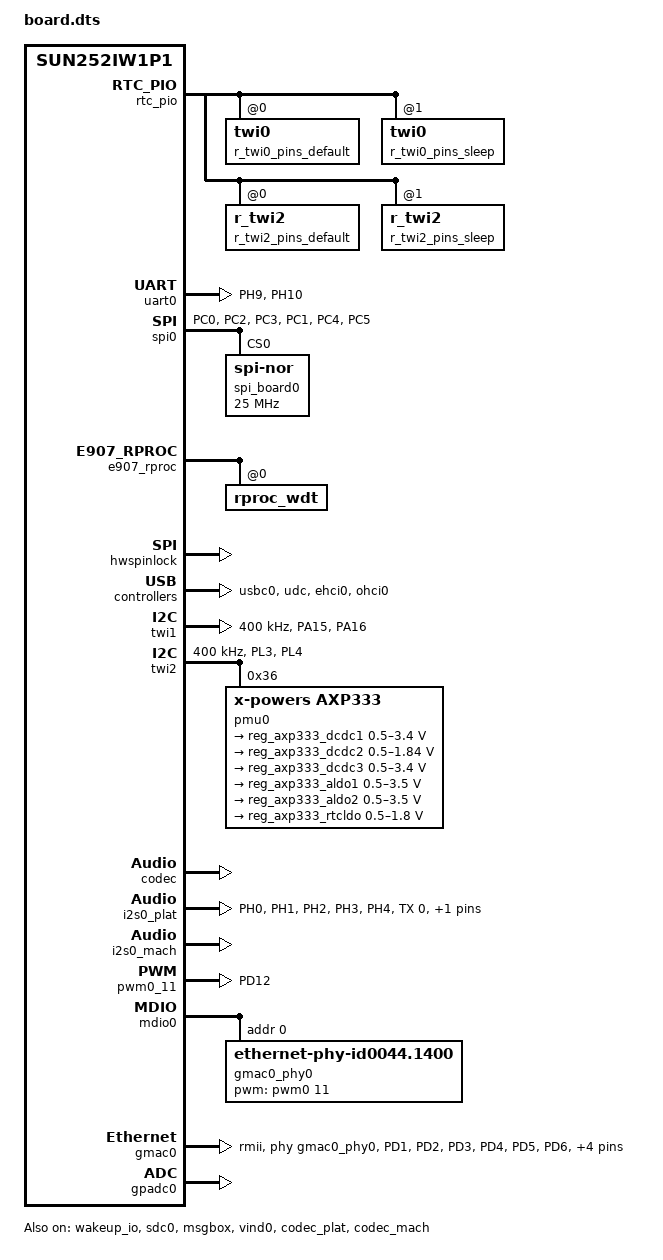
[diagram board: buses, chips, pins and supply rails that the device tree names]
// SPDX-License-Identifier: (GPL-2.0+ or MIT)

/dts-v1/;

#include "sun252iw1p1.dtsi"
#include <dt-bindings/input/linux-event-codes.h>

/{
	board = "V861", "V861-PERF1";
	compatible = "allwinner,sun252iw1p1", "riscv,sun252iw1p1";
	aliases {
		pmu0 = &pmu0;
		standby_param = &standby_param;
	};

	standby_param: standby_param {
		compatible = "allwinner,sun252iw1-standby-param";
		vdd-sys = <0x00000001>;
		vcc-io = <0x00000004>;
		vdd-csi = <0x00000008>;
		vcc-pa = <0x00000010>;
		ext32k = <0x1>;
		standby_pmu = <&pmu0>;
		standby_pmu_twi = <2>;
		standby_pmu_pinbase = "PL";
		standby_pmu_pinctrl = <3 2>, <4 2>;
		standby_dram_param = <&dram>;
		memory-region = <&standby_param_reserved>;
		status = "okay";
	};

	reserved-memory {
		standby_param_reserved: standby_param@40fc0000 {
			reg = <0x0 0x40fc0000 0x0 0x1000>;
			no-map;
		};

		e907_dram_reserved: e907_dram@41000000 {
			reg = <0x0 0x41000000 0x0 0x200000>;
			no-map;
		};

		/*
		 * The name should be "vdev%dbuffer".
		 * Its size should be not less than
		 *     RPMSG_BUF_SIZE * (num of buffers in a vring) * 2
		 *   = 512 * (num of buffers in a vring) * 2
		 */
		rv_vdev0buffer: vdev0buffer@41200000 {
			compatible = "shared-dma-pool";
			reg = <0x0 0x41200000 0x0 0x40000>;
			no-map;
		};

		/*
		 * The name should be "vdev%dvring%d".
		 * The size of each should be not less than
		 *     PAGE_ALIGN(vring_size(num, align))
		 *   = PAGE_ALIGN(16 * num + 6 + 2 * num + (pads for align) + 6 + 8 * num)
		 *
		 * (Please refer to the vring layout in include/uapi/linux/virtio_ring.h)
		 */
		rv_vdev0vring0: vdev0vring0@41240000 {
			reg = <0x0 0x41240000 0x0 0x2000>;
			no-map;
		};

		rv_vdev0vring1: vdev0vring1@41242000 {
			reg = <0x0 0x41242000 0x0 0x2000>;
			no-map;
		};

		e907_rpbuf_reserved: e907_rpbuf@41244000 {
			compatible = "shared-dma-pool";
			reg = <0x0 0x41244000 0x0 0x80000>;
			no-map;
		};

		e907_share_irq_table: share_irq_table@412c4000 {
			reg = <0x0 0x412c4000 0x0 0x2000>;
			no-map;
		};

		e907_mem_fw: e907_mem_fw@42400000 {
			/* boot0 & uboot0 load elf addr */
			reg = <0x0 0x42400000 0x0 0x200000>;
		};

		size_pool_mem: size_pool_mem@0{
			size = <0x0 0x3200000>;
		};
	};

	size_pool@0 {
		compatible = "allwinner,sunxi-size-pool-dma";
		memory = <&size_pool_mem>;
		thrs = <128>;
		sizes = <0 51200>;
		fall_to_big_pool = <1>;
	};

	rpbuf_controller0: rpbuf_controller0@0 {
		compatible = "allwinner,rpbuf-controller";
		remoteproc = <&e907_rproc>;
		ctrl_id = <0>;
		memory-region = <&e907_rpbuf_reserved>;
		status = "okay";
	};

	reserved-irq {
		share-e907 {
			arch-name = "e907";
			memory-region = <&e907_share_irq_table>;
			/* defined by sun252iw1-share-irq-dt.h */
			share-irq =
					<1    0x1    E907_PA_IRQ_NUM    C907_PA_IRQ_NUM    0x00000000>,
					<3    0x3    E907_PC_IRQ_NUM    C907_PC_IRQ_NUM    0x00000000>,
					<4    0x4    E907_PD_IRQ_NUM    C907_PD_IRQ_NUM    0x00000000>,
					<5    0x5    E907_PE_IRQ_NUM    C907_PE_IRQ_NUM    0x00000000>,
					<6    0x6    E907_PF_IRQ_NUM    C907_PF_IRQ_NUM    0x00000000>,
					<7    0x7    E907_PG_IRQ_NUM    C907_PG_IRQ_NUM    0x00000000>,
					<8    0x8    E907_PH_IRQ_NUM    C907_PH_IRQ_NUM    0x00000000>,
					<9    0x9    E907_PI_IRQ_NUM    C907_PI_IRQ_NUM    0x00000000>,
					<12   0xc    E907_PL_IRQ_NUM    C907_PL_IRQ_NUM    0x00000000>;
		};
	};

	pm_msgbox:pm_msgbox@1 {
		compatible = "allwinner,sun252iw1-pm-msgbox";
		mboxes = <&msgbox 2>;
		mbox-names = "pm-msgbox";
		status = "okay";
	};
};

&cpu0 {
	cpu-supply = <&reg_axp333_dcdc1>;
};

&cluster0_opp_table {
	opp@1368000000 {
		status = "okay";
	};
	opp@1416000000 {
		status = "okay";
	};
};

&ve {
	ve-supply = <&reg_axp333_dcdc1>;
};

&pio {
	uart0_pins_active: uart0_pins@0 {
		pins = "PH9", "PH10";
		function = "uart0";
	};

	uart0_pins_sleep: uart0_pins@1 {
		pins = "PH9", "PH10";
		function = "io_disabled";
	};

	uart1_pins_active: uart1_pins@0 {
		pins = "PG4", "PG5", "PG6", "PG7";
		function = "uart1";
	};

	uart1_pins_sleep: uart1_pins@1 {
		pins = "PG4", "PG5", "PG6", "PG7";
		function = "io_disabled";
	};

	uart2_pins_active: uart2_pins@0 {
		pins = "PH5", "PH6", "PH7", "PH8";
		function = "uart2";
	};

	uart2_pins_sleep: uart2_pins@1 {
		pins = "PH5", "PH6", "PH7", "PH8";
		function = "io_disabled";
	};

	uart3_pins_active: uart3_pins@0 {
		pins = "PH0", "PH1";
		function = "uart3";
	};

	uart3_pins_sleep: uart3_pins@1 {
		pins = "PH0", "PH1";
		function = "io_disabled";
	};

	spi0_pins_default: spi0@0 {
		pins = "PC0", "PC2", "PC3"; /* clk, mosi, miso */
		function = "spi0";
		allwinner,drive = <1>;
	};

	spi0_pins_cs: spi0@1 {
		pins = "PC1", "PC4", "PC5"; /* cs, wp, hold */
		function = "spi0";
		allwinner,drive = <1>;
		bias-pull-up;
	};

	spi0_pins_sleep: spi0@3 {
		pins = "PC0", "PC1", "PC2", "PC3", "PC4", "PC5";
		function = "io_disabled";
	};

	spi1_pins_default: spi1@0 {
		pins = "PD1", "PD2", "PD3"; /* CS, SCK, SDA */
		function = "spi1";
		allwinner,drive = <3>;
		bias-pull-up;
	};

	spi1_pins_sleep: spi1@1 {
		pins = "PD1", "PD2", "PD3";
		function = "io_disabled";
		allwinner,drive = <0>;
		bias-disable;
	};

	dbi1_pins_default: dbi1@0 {
		pins = "PD1", "PD2", "PD3", "PD5", "PD6"; /* dbi-cs, dbi-clk, dbi-sdo, dbi-dcx, dbi-te */
		function = "spi1";
		allwinner,drive = <3>;
		bias-pull-up;
	};

	dbi1_pins_sleep: dbi1@1 {
		pins = "PD1", "PD2", "PD3", "PD5", "PD6";
		function = "io_disabled";
		allwinner,drive = <0>;
		bias-disable;
	};

	spif_pins_default: spif@0 {
		pins = "PC0", "PC2", "PC3"; /* clk, mosi, miso */
		function = "spif";
		allwinner,drive = <1>;
	};

	spif_pins_cs: spif@1 {
		pins = "PC1", "PC4", "PC5"; /* cs, wp, hold */
		function = "spif";
		allwinner,drive = <1>;
		bias-pull-up;
	};

	spif_pins_sleep: spif@2 {
		pins = "PC0", "PC1", "PC2", "PC3", "PC4", "PC5";
		function = "io_disabled";
	};

	twi0_pins_default: twi0@0 {
		pins = "PD20", "PD21";
		function = "twi0";
		bias-pull-up;
		allwinner,drive = <0>;
	};

	twi0_pins_sleep: twi0@1 {
		pins = "PD20", "PD21";
		function = "gpio_in";
	};

	twi1_pins_default: twi1@0 {
		pins = "PA15", "PA16";
		function = "twi1";
		bias-pull-up;
		allwinner,drive = <0>;
	};

	twi1_pins_sleep: twi1@1 {
		pins = "PA15", "PA16";
		function = "gpio_in";
	};

	twi2_pins_default: twi2@0 {
		pins = "PE10", "PE11";
		function = "twi2";
		bias-pull-up;
		allwinner,drive = <0>;
	};

	twi2_pins_sleep: twi2@1 {
		pins = "PE10", "PE11";
		function = "gpio_in";
	};

	twi3_pins_default: twi3@0 {
		pins = "PD18", "PD19";
		function = "twi3";
		bias-pull-up;
		allwinner,drive = <0>;
	};

	twi3_pins_sleep: twi3@1 {
		pins = "PD18", "PD19";
		function = "gpio_in";
	};

	i2s0_pins_a: i2s0@0 {
		pins = "PH0";
		function = "i2s0_mclk";
		allwinner,drive = <1>;
		bias-disable;
	};

	i2s0_pins_b: i2s0@1 {
		pins = "PH1";
		function = "i2s0_bclk";
		allwinner,drive = <1>;
		bias-disable;
	};

	i2s0_pins_c: i2s0@2 {
		pins = "PH2";
		function = "i2s0_lrck";
		allwinner,drive = <1>;
		bias-disable;
	};

	i2s0_pins_d: i2s0@3 {
		pins = "PH3";
		function = "i2s0_dout0";
		allwinner,drive = <1>;
		bias-disable;
	};

	i2s0_pins_e: i2s0@4 {
		pins = "PH4";
		function = "i2s0_din0";
		allwinner,drive = <1>;
		bias-disable;
	};

	i2s0_pins_f: i2s0@5 {
		pins = "PH0", "PH1", "PH2", "PH3", "PH4";
		function = "io_disabled";
		allwinner,drive = <1>;
		bias-disable;
	};

	pwm0_9_pins_active: pwm0_9@0 {
		pins = "PE9";
		function = "pwm_9";
		drive-strength = <10>;
		bias-pull-up;
	};

	pwm0_9_pins_sleep: pwm0_9@1 {
		pins = "PE9";
		function = "io_disabled";
		bias-disable;
	};

	pwm0_11_pins_active: pwm0_11@0 {
		pins = "PD12";
		function = "pwm_11";
		drive-strength = <10>;
		bias-pull-up;
	};

	pwm0_11_pins_sleep: pwm0_11@1 {
		pins = "PD12";
		function = "io_disabled";
	};

	gmac0_pins_default: gmac0@0 {
		pins = "PD1", "PD2", "PD3", "PD4", "PD5",
				"PD6", "PD7", "PD9", "PD10", "PD11";
		function = "rmii1";
		drive-strength = <40>;
	};

	gmac0_pins_sleep: gmac0@1 {
		pins = "PD1", "PD2", "PD3", "PD4", "PD5",
				"PD6", "PD7", "PD9", "PD10", "PD11";
		function = "io_disabled";
	};

	sdc0_pins_f: sdc0@5 {
		pins = "PF0", "PF1", "PF2",
			 "PF3", "PF4", "PF5";
		function = "io_disabled";
		bias-disable;
		power-source = <3300>;
	};
};

&rtc_pio {
	r_twi0_pins_default: twi0@0 {
		pins = "PL5", "PL6";
		function = "s_twi0";
		bias-pull-up;
		allwinner,drive = <0>;
	};

	r_twi0_pins_sleep: twi0@1 {
		pins = "PL5", "PL6";
		function = "gpio_in";
	};
	r_twi2_pins_default: r_twi2@0 {
		pins = "PL3", "PL4";
		function = "s_twi2";
		bias-pull-up;
		allwinner,drive = <0>;
	};
	r_twi2_pins_sleep: r_twi2@1 {
		pins = "PL3", "PL4";
		function = "gpio_in";
	};
};

&soc {
	auto_print@54321 {
		reg = <0x0 0x54321 0x0 0x0>;
		device_type = "auto_print";
		status = "okay";
	};
};

&wakeup_io {
	status = "okay";
	reg = <0x0 0x07090250 0x0 0X1000>;
	wakeup_pins {
		wakeup_pin1:wakeup-pin@1 {
			gpio_info = <&rtc_pio PL 4 GPIO_ACTIVE_HIGH>;
			edge_mode = "positive";
			clk_src = <0>;
			debounce_us = <50000>;
			wakeup-source;
			status = "okay";
		};
	};
};

&uart0 {
	pinctrl-names = "default", "sleep";
	pinctrl-0 = <&uart0_pins_active>;
	pinctrl-1 = <&uart0_pins_sleep>;
	status = "okay";
};

&uart1 {
	pinctrl-names = "default", "sleep";
	pinctrl-0 = <&uart1_pins_active>;
	pinctrl-1 = <&uart1_pins_sleep>;
	status = "disabled";
};

&uart2 {
	pinctrl-names = "default", "sleep";
	pinctrl-0 = <&uart2_pins_active>;
	pinctrl-1 = <&uart2_pins_sleep>;
	status = "disabled";
};

&uart3 {
	pinctrl-names = "default", "sleep";
	pinctrl-0 = <&uart3_pins_active>;
	pinctrl-1 = <&uart3_pins_sleep>;
	uart3_type = <2>;
	status = "disabled";
};

&spi0 {
	pinctrl-0 = <&spi0_pins_default &spi0_pins_cs>;
	pinctrl-1 = <&spi0_pins_sleep>;
	pinctrl-names = "default", "sleep";
	sunxi,spi-bus-mode = <SUNXI_SPI_BUS_NAND>;
	sunxi,spi-cs-mode = <SUNXI_SPI_CS_SOFT>;
	status = "okay";

	spi_board0 {
		compatible = "jedec,spi-nor";
		spi-max-frequency=<25000000>;
		reg = <0x0>;
		spi-rx-bus-width=<0x01>;
		spi-tx-bus-width=<0x01>;
		status="okay";
	};
	spi-nand@0 {
		compatible = "spi-nand";
		spi-max-frequency=<100000000>;
		reg = <0x0>;
		spi-rx-bus-width=<0x04>;
		spi-tx-bus-width=<0x04>;
		status = "disabled";
	};
};

&spi1 {
	pinctrl-0 = <&dbi1_pins_default>;
	pinctrl-1 = <&dbi1_pins_sleep>;
	pinctrl-names = "default", "sleep";
	/*Set SUNXI_SPI_BUS_DBI when using SPI LCD*/
	sunxi,spi-bus-mode = <SUNXI_SPI_BUS_DBI>;
	sunxi,spi-cs-mode = <SUNXI_SPI_CS_AUTO>;
	/*sunxi,spi-bus-mode = <SUNXI_SPI_BUS_MASTER>;*/
	/*sunxi,spi-cs-mode = <SUNXI_SPI_CS_SOFT>;*/
	status = "disabled";

	spi_panel_spi1: slave@0 {
		device_type = "spi-panel";
		compatible = "allwinner,spi-panel";
		reg = <0x0>;
		spi-max-frequency = <100000000>;
		lcd_used = <1>;
		lcd_driver_name = "kld2844b";
		lcd_if = <1>;
		lcd_dbi_if = <4>;
		lcd_data_speed = <50>;
		lcd_spi_bus_num = <1>;
		lcd_x = <240>;
		lcd_y = <320>;
		lcd_pixel_fmt = <0>;
		lcd_dbi_fmt = <3>;
		lcd_rgb_order = <0>;
		lcd_width = <60>;
		lcd_height = <95>;
		lcd_pwm_used = <1>;
		lcd_pwm_ch = <9>;
		lcd_pwm_freq = <5000>;
		lcd_pwm_pol = <1>;
		lcd_pwm_name = "spi_backlight";
		lcd_frm = <1>;
		lcd_gamma_en = <1>;
		fb_buffer_num = <2>;
		lcd_backlight = <100>;
		lcd_fps = <60>;
		lcd_dbi_te = <0>;
		lcd_dbi_clk_mode = <0>;
		lcd_gpio_0 = <&pio PD 4 GPIO_ACTIVE_LOW>; /* reset */
		/*lcd_spi_dc_pin = <&pio PD 5 GPIO_ACTIVE_HIGH>;*/
		status = "disabled";
	};

};

&lcd_fb {
	status = "disabled";
	pwms = <&pwm0 9 5000000 0>;
	pwm-names = "spi_backlight";

	port {
		#address-cells = <1>;
		#size-cells = <0>;
		spi_panel0: endpoint@0 {
			reg = <0>;
			remote-endpoint = <&spi_panel_spi1>;
		};
	};
};

&spif0 {
	clock-frequency = <100000000>;
	pinctrl-0 = <&spif_pins_default &spif_pins_cs>;
	pinctrl-1 = <&spif_pins_sleep>;
	pinctrl-names = "default", "sleep";
	spif-rx-bus-width = <0x4>;
	spif-tx-bus-width = <0x4>;
	//prefetch_read_mode_enabled;	/* choose prefect read mode */
	//dqs_mode_enabled;				/* choose dqs mode(nand provide clk mode) */
	dtr_mode_enabled;				/* choose double edge trigger mode */
	io_mode_enabled;				/* 1_x_x && x_x_x mode */
	status = "disabled";

	spif-nor  {
		device_type = "spi_board0";
		compatible = "spif-nor";
		spi-max-frequency = <0x5f5e100>;
		reg = <0x0>;
		status = "disabled";
	};
};

&sdc0 {
	bus-width = <4>;
	cd-gpios = <&pio PF 6 (GPIO_ACTIVE_LOW | GPIO_PULL_UP)>;
	/*non-removable;*/
	/*broken-cd;*/
	/*cd-inverted*/
	/*data3-detect;*/
	card-pwr-gpios = <&pio PH 13 1 1 2 0xffffffff>;
	pinctrl-2 = <&sdc0_pins_f>;
	cd-used-24M;
	cd-set-debounce = <0x1>;
	cap-sd-highspeed;
	sd-uhs-sdr50;
	sd-uhs-ddr50;
	sd-uhs-sdr104;
	no-sdio;
	no-mmc;
	/* b2c-ecc-on; */
	sunxi-power-save-mode;
	/*sunxi-dis-signal-vol-sw;*/
	max-frequency = <150000000>;
	ctl-spec-caps = <0x428>;
	/*vmmc-supply = <&reg_cldo3>;*/
	/*vqmmc33sw-supply = <&reg_cldo3>;*/
	/*vdmmc33sw-supply = <&reg_cldo3>;*/
	/*vqmmc18sw-supply = <&reg_aldo4>;*/
	/*vdmmc18sw-supply = <&reg_aldo4>;*/
	status = "okay";
};

&sdc2 {
	bus-width = <4>;
	mmc-ddr-1_8v;
	mmc-hs200-1_8v;
	mmc-hs400-1_8v;
	sunxi-power-save-mode;
	sunxi-dis-signal-vol-sw;
	mmc-bootpart-noacc;
	cqe-on;
	ctl-cmdq-md = <0x2>;
	max-frequency = <150000000>;
	status = "disabled";
};

&e907_rproc {
	firmware-name = "amp_rv0.bin";
	mboxes = <&msgbox 0>, <&msgbox 2>;
	mbox-names = "arm-kick", "arm-standby";
	auto-boot;
	skip-shutdown;
	fw-region = <&e907_mem_fw>;
	memory-region = <&e907_dram_reserved>, <&rv_vdev0buffer>, <&rv_vdev0vring0>, <&rv_vdev0vring1>, <&e907_share_irq_table>;
	fw-partitions = "riscv0", "riscv0-r";
	fw-partition-sectors = <2432>;
	memory-mappings =
		/* < DA         len             PA >    */
		/* DRAM */
		< 0x40000000       0xBfffffff    0x40000000 >;
	stop-record-reg = <0x4a00020c>;

	share-irq = "e907";
	status = "okay";

	rproc_wdt: rproc_wdt@0 {
		timeout_ms = <6000>;
		try_times = <3>;
		reset_type = <0x2>;
		panic_on_timeout = <0>;
		status = "okay";
	};
};

&msgbox {
	status = "okay";
};

&hwspinlock {
	status = "okay";
};

/*
 * usb_port_type: usb mode. 0-device, 1-host, 2-otg.
 * usb_detect_type: usb hotplug detect mode. 0-none, 1-vbus/id detect, 2-pmu detect, 3-tcpm detect.
 * usb_detect_mode: 0-thread scan, 1-id gpio interrupt, 2-pmu notify.
 * usb_id_gpio: gpio for id detect.
 * usb_det_vbus_gpio: gpio for id detect. gpio or "axp_ctrl".
 * usb_wakeup_suspend: 0-SUPER_STANDBY, 1-USB_STANDBY.
 */
&usbc0 {
	device_type = "usbc0";
	usb_port_type = <0>;
	usb_detect_type = <1>;
	usb_detect_mode = <1>;
	usb_id_gpio = <&pio PH 2 GPIO_ACTIVE_HIGH>;
	usb_det_vbus_gpio;
	usb_wakeup_suspend = <0>;
	status = "okay";
};

&udc {
	status = "okay";
};

&ehci0 {
	status = "okay";
};

&ohci0 {
	status = "okay";
};

&twi0 {
	clock-frequency = <400000>;
	pinctrl-0 = <&twi0_pins_default>;
	pinctrl-1 = <&twi0_pins_sleep>;
	pinctrl-names = "default", "sleep";
	twi_drv_used = <1>;
	status = "disabled";
};

&twi1 {
	clock-frequency = <400000>;
	pinctrl-0 = <&twi1_pins_default>;
	pinctrl-1 = <&twi1_pins_sleep>;
	pinctrl-names = "default", "sleep";
	twi_drv_used = <1>;
	status = "okay";
};

&twi2 {
	clock-frequency = <400000>;
	pinctrl-0 = <&r_twi2_pins_default>;
	pinctrl-1 = <&r_twi2_pins_sleep>;
	pinctrl-names = "default", "sleep";
	twi_drv_used = <1>;
	status = "okay";

	pmu0: pmu@36{
		compatible = "x-powers,axp333";
		reg = <0x36>;
		status = "okay";
		wakeup_source;

		powerkey0: powerkey@0 {
			status = "disabled";
			compatible = "x-powers,axp2101-pek";
		};

		axp333_motor: axp333_motor@0 {
			status = "okay";
			compatible = "x-powers,axp333-motor";
		};

		ircut: ircut@0 {
			status = "okay";
			compatible = "x-powers,axp333-ircut";
		};

		regulators{
			reg_axp333_dcdc1: dcdc1 {
				regulator-name = "axp333-dcdc1";
				regulator-min-microvolt = <500000>;
				regulator-max-microvolt = <3400000>;
				regulator-step-delay-us = <25>;
				regulator-final-delay-us = <50>;
				regulator-always-on;
			};

			reg_axp333_dcdc2: dcdc2 {
				regulator-name = "axp333-dcdc2";
				regulator-min-microvolt = <500000>;
				regulator-max-microvolt = <1840000>;
				regulator-step-delay-us = <25>;
				regulator-final-delay-us = <50>;
				regulator-always-on;
			};

			reg_axp333_dcdc3: dcdc3 {
				regulator-name = "axp333-dcdc3";
				regulator-min-microvolt = <500000>;
				regulator-max-microvolt = <3400000>;
				regulator-step-delay-us = <25>;
				regulator-final-delay-us = <50>;
				regulator-always-on;
			};

			reg_axp333_aldo1: aldo1 {
				regulator-name = "axp333-aldo1";
				regulator-min-microvolt = <500000>;
				regulator-max-microvolt = <3500000>;
				regulator-step-delay-us = <25>;
				regulator-final-delay-us = <50>;
				regulator-always-on;
			};

			reg_axp333_aldo2: aldo2 {
				regulator-name = "axp333-aldo2";
				regulator-min-microvolt = <500000>;
				regulator-max-microvolt = <3500000>;
				regulator-step-delay-us = <25>;
				regulator-final-delay-us = <50>;
				regulator-always-on;
			};

			reg_axp333_rtcldo: rtcldo {
				regulator-name = "axp333-rtcldo";
				regulator-min-microvolt = <500000>;
				regulator-max-microvolt = <1800000>;
				regulator-step-delay-us = <25>;
				regulator-final-delay-us = <50>;
				regulator-always-on;
			};
		};
		virtual-ext-dcdc1 {
			compatible = "xpower-vregulator,dcdc1";
			dcdc1-supply = <&reg_axp333_dcdc1>;
		};
		virtual-ext-dcdc2 {
			compatible = "xpower-vregulator,dcdc2";
			dcdc2-supply = <&reg_axp333_dcdc2>;
		};
		virtual-ext-dcdc3 {
			compatible = "xpower-vregulator,dcdc3";
			dcdc3-supply = <&reg_axp333_dcdc3>;
		};
		virtual-ext-aldo1 {
			compatible = "xpower-vregulator,aldo1";
			aldo1-supply = <&reg_axp333_aldo1>;
		};
		virtual-ext-aldo2 {
			compatible = "xpower-vregulator,aldo2";
			aldo2-supply = <&reg_axp333_aldo2>;
		};
		virtual-ext-rtcldo {
			compatible = "xpower-vregulator,rtcldo";
			rtcldo-supply = <&reg_axp333_rtcldo>;
		};
	};

	tlsc6x: tlsc6x@2e {
		compatible = "tlsc6x,tlsc6x_ts";
		reg = <0x2e>;
		reset-gpio = <&pio PE 4 GPIO_ACTIVE_HIGH>;
		irq-gpio = <&pio PE 8 GPIO_ACTIVE_LOW>;
		TP_MAX_X = <240>;
		TP_MAX_Y = <320>;
		revert_x_flag = <1>;
		revert_y_flag = <0>;
		exchange_x_y_flag = <1>;
		status = "disabled";
	};

};

&twi3 {
	clock-frequency = <400000>;
	pinctrl-0 = <&twi3_pins_default>;
	pinctrl-1 = <&twi3_pins_sleep>;
	pinctrl-names = "default", "sleep";
	twi_drv_used = <1>;
	status = "disabled";
};

&vind0 {
	csi_top = <300000000>;
	status = "okay";

	csi2: csi@5822000 {
		pinctrl-names = "default","sleep";
		pinctrl-0 = <&ncsi_8bit_pins_a>;
		pinctrl-1 = <&ncsi_8bit_pins_b>;
		status = "disabled";
	};

	tdm0: tdm@5908000 {
		work_mode = <0x1>;
		delay_init = <0>;
	};

	isp00:isp@5900000 {
		work_mode = <0x1>;
		delay_init = <0>;
	};

	isp01:isp@58ffffc {
		status = "disabled";
		delay_init = <0>;
	};

	isp02:isp@58ffff8 {
		status = "disabled";
		delay_init = <0>;
	};

	isp03:isp@58ffff4 {
		status = "disabled";
		delay_init = <0>;
	};

	isp10:isp@4 {
		status = "disabled";
	};

	isp20:isp@5 {
		status = "disabled";
	};

	isp30:isp@6 {
		status = "disabled";
	};

	scaler00:scaler@5910000 {
		work_mode = <0x1>;
		status = "okay";
		delay_init = <0>;
	};

	scaler01:scaler@590fffc {
		status = "disabled";
		delay_init = <0>;
	};

	scaler02:scaler@590fff8 {
		status = "disabled";
		delay_init = <0>;
	};

	scaler03:scaler@590fff4 {
		status = "disabled";
		delay_init = <0>;
	};

	scaler10:scaler@5910400 {
		work_mode = <0x0>;
		status = "okay";
		delay_init = <0>;
	};

	scaler11:scaler@59103fc {
		status = "disabled";
		delay_init = <0>;
	};

	scaler12:scaler@59103f8 {
		status = "disabled";
		delay_init = <0>;
	};

	scaler13:scaler@59103f4 {
		status = "disabled";
		delay_init = <0>;
	};

	scaler20:scaler@5910800 {
		work_mode = <0x0>;
		status = "okay";
		delay_init = <0>;
	};

	scaler21:scaler@59107fc {
		status = "disabled";
		delay_init = <0>;
	};

	scaler22:scaler@59107f8 {
		status = "disabled";
		delay_init = <0>;
	};

	scaler23:scaler@59107f4 {
		status = "disabled";
		delay_init = <0>;
	};

	scaler30:scaler@5910c00 {
		work_mode = <0x0>;
		status = "okay";
		delay_init = <0>;
	};

	scaler31:scaler@5910bfc {
		status = "disabled";
		delay_init = <0>;
	};

	scaler32:scaler@5910bf8 {
		status = "disabled";
		delay_init = <0>;
	};

	scaler33:scaler@5910bf4 {
		status = "disabled";
		delay_init = <0>;
	};

	actuator0: actuator@2108180 {
		device_type = "actuator0";
		actuator0_slave = <0x18>;
		actuator0_af_pwdn = <>;
		actuator0_afvdd = "afvcc-csi";
		actuator0_afvdd_vol = <2800000>;
		status = "disabled";
	};

	flash0: flash@2108190 {
		device_type = "flash0";
		flash0_type = <2>;
		flash0_en = <>;
		flash0_mode = <>;
		flash0_flvdd = "";
		flash0_flvdd_vol = <>;
		device_id = <0>;
		status = "disabled";
	};

	sensor0: sensor@5812000 {
		device_type = "sensor0";
		sensor0_mname = "ov13850_mipi";
		sensor0_twi_cci_id = <1>;
		sensor0_twi_addr = <0x20>;
		sensor0_mclk_id = <1>;
		sensor0_pos = "rear";
		sensor0_isp_used = <1>;
		sensor0_fmt = <1>;
		sensor0_stby_mode = <0>;
		sensor0_vflip = <0>;
		sensor0_hflip = <0>;
		sensor0_iovdd-supply = <>;
		sensor0_iovdd_vol = <>;
		sensor0_avdd-supply = <>;
		sensor0_avdd_vol = <>;
		sensor0_dvdd-supply = <>;
		sensor0_dvdd_vol = <>;
		sensor0_power_en = <>;
		sensor0_reset = <&pio PA 14 GPIO_ACTIVE_LOW>;
		sensor0_pwdn = <>;
		status = "okay";
	};

	sensor1: sensor@5812010 {
		device_type = "sensor1";
		sensor1_mname = "gc1084_mipi_2";
		sensor1_twi_cci_id = <0>;
		sensor1_twi_addr = <0x7e>;
		sensor1_mclk_id = <1>;
		sensor1_pos = "front";
		sensor1_isp_used = <1>;
		sensor1_fmt = <1>;
		sensor1_stby_mode = <0>;
		sensor1_vflip = <0>;
		sensor1_hflip = <0>;
		sensor1_iovdd-supply = <>;
		sensor1_iovdd_vol = <>;
		sensor1_avdd-supply = <&reg_axp333_aldo1>;
		sensor1_avdd_vol = <2800000>;
		sensor1_dvdd-supply = <>;
		sensor1_dvdd_vol = <>;
		sensor1_power_en = <>;
		sensor1_reset = <&pio PE 1 GPIO_ACTIVE_LOW>;
		status = "disabled";
		sensor1_pwdn = <>;
	};

	sensor2: sensor@5812020 {
		device_type = "sensor2";
		sensor2_mname = "gc1084_mipi_3";
		sensor2_twi_cci_id = <0>;
		sensor2_twi_addr = <0x7e>;
		sensor2_mclk_id = <1>;
		sensor2_pos = "front";
		sensor2_isp_used = <1>;
		sensor2_fmt = <1>;
		sensor2_stby_mode = <0>;
		sensor2_vflip = <0>;
		sensor2_hflip = <0>;
		sensor2_iovdd-supply = <>;
		sensor2_iovdd_vol = <>;
		sensor2_avdd-supply = <>;
		sensor2_avdd_vol = <>;
		sensor2_dvdd-supply = <>;
		sensor2_dvdd_vol = <>;
		sensor2_power_en = <>;
		sensor2_reset = <&pio PD 13 GPIO_ACTIVE_LOW>;
		status = "disabled";
		sensor2_pwdn = <>;
	};

	sensor_list0:sensor_list@5812040 {
		sensor00_mname = "gc5035_mipi";
		sensor00_twi_addr = <0x6c>;
		sensor00_type = <1>;
		sensor00_hflip = <0>;
		sensor00_vflip = <0>;
		sensor00_act_used = <1>;
		sensor00_act_name = "dw9714_act";
		sensor00_act_twi_addr = <0x18>;
		sensor01_mname = "ov5675_mipi";
		sensor01_twi_addr = <0x6c>;
		sensor01_type = <1>;
		sensor01_hflip =  <0>;
		sensor01_vflip = <0>;
		sensor01_act_used = <1>;
		sensor01_act_name = "dw9714_act";
		sensor01_act_twi_addr = <0x18>;
		sensor02_mname = "sp5409_mipi";
		sensor02_twi_addr = <0x78>;
		sensor02_type = <1>;
		sensor02_hflip =  <0>;
		sensor02_vflip = <0>;
		sensor02_act_used = <1>;
		sensor02_act_name = "dw9714_act";
		sensor02_act_twi_addr = <0x18>;
		status = "disabled";
	};

	sensor_list1:sensor_list@5812050 {
		sensor10_mname = "gc02m2_mipi";
		sensor10_twi_addr = <0x20>;
		sensor10_type = <1>;
		sensor10_hflip =  <0>;
		sensor10_vflip = <0>;
		sensor10_act_used = <0>;
		sensor10_act_name = "";
		sensor10_act_twi_addr = <>;
		sensor11_mname = "ov02a10_mipi";
		sensor11_twi_addr = <0x7a>;
		sensor11_type = <1>;
		sensor11_hflip =  <1>;
		sensor11_vflip = <0>;
		sensor11_act_used = <0>;
		sensor11_act_name = "";
		sensor11_act_twi_addr = <>;
		sensor12_mname = "gc030a_mipi";
		sensor12_twi_addr = <0x42>;
		sensor12_type = <1>;
		sensor12_hflip =  <0>;
		sensor12_vflip = <0>;
		sensor12_act_used = <0>;
		sensor12_act_name = "";
		sensor12_act_twi_addr = <>;
		status = "disabled";
	};

	vinc00:vinc@5830000 {
		vinc0_csi_sel = <0>;
		vinc0_mipi_sel = <0>;
		vinc0_isp_sel = <0>;
		vinc0_isp_tx_ch = <0>;
		vinc0_tdm_rx_sel = <0>;
		vinc0_vipp_sel = <0>;
		vinc0_rear_sensor_sel = <0>;
		vinc0_front_sensor_sel = <0>;
		vinc0_sensor_list = <0>;
		delay_init = <0>;
		work_mode = <0x1>;
		status = "okay";
	};

	vinc01:vinc@582fffc {
		vinc1_csi_sel = <1>;
		vinc1_mipi_sel = <1>;
		vinc1_isp_sel = <1>;
		vinc1_isp_tx_ch = <0>;
		vinc1_tdm_rx_sel = <1>;
		vinc1_vipp_sel = <1>;
		vinc1_rear_sensor_sel = <1>;
		vinc1_front_sensor_sel = <1>;
		vinc1_sensor_list = <0>;
		delay_init = <0>;
		status = "disabled";
	};

	vinc02:vinc@582fff8 {
		vinc2_csi_sel = <2>;
		vinc2_mipi_sel = <2>;
		vinc2_isp_sel = <2>;
		vinc2_isp_tx_ch = <0>;
		vinc2_tdm_rx_sel = <2>;
		vinc2_vipp_sel = <2>;
		vinc2_rear_sensor_sel = <2>;
		vinc2_front_sensor_sel = <2>;
		vinc2_sensor_list = <0>;
		delay_init = <0>;
		status = "disabled";
	};

	vinc03:vinc@582fff4 {
		vinc3_csi_sel = <0>;
		vinc3_mipi_sel = <0>;
		vinc3_isp_sel = <3>;
		vinc3_isp_tx_ch = <0>;
		vinc3_tdm_rx_sel = <3>;
		vinc3_vipp_sel = <3>;
		vinc3_rear_sensor_sel = <0>;
		vinc3_front_sensor_sel = <0>;
		vinc3_sensor_list = <0>;
		delay_init = <0>;
		status = "disabled";
	};

	vinc10:vinc@5831000 {
		vinc4_csi_sel = <1>;
		vinc4_mipi_sel = <1>;
		vinc4_isp_sel = <0>;
		vinc4_isp_tx_ch = <0>;
		vinc4_tdm_rx_sel = <0>;
		vinc4_vipp_sel = <4>;
		vinc4_rear_sensor_sel = <0>;
		vinc4_front_sensor_sel = <0>;
		vinc4_sensor_list = <0>;
		delay_init = <0>;
		work_mode = <0x0>;
		status = "okay";
	};

	vinc11:vinc@5830ffc {
		vinc5_csi_sel = <1>;
		vinc5_mipi_sel = <1>;
		vinc5_isp_sel = <1>;
		vinc5_isp_tx_ch = <0>;
		vinc5_tdm_rx_sel = <1>;
		vinc5_vipp_sel = <5>;
		vinc5_rear_sensor_sel = <1>;
		vinc5_front_sensor_sel = <1>;
		vinc5_sensor_list = <0>;
		delay_init = <0>;
		status = "disabled";
	};

	vinc12:vinc@5830ff8 {
		vinc6_csi_sel = <2>;
		vinc6_mipi_sel = <2>;
		vinc6_isp_sel = <2>;
		vinc6_isp_tx_ch = <0>;
		vinc6_tdm_rx_sel = <2>;
		vinc6_vipp_sel = <6>;
		vinc6_rear_sensor_sel = <2>;
		vinc6_front_sensor_sel = <2>;
		vinc6_sensor_list = <0>;
		delay_init = <0>;
		status = "disabled";
	};

	vinc13:vinc@5830ff4 {
		vinc7_csi_sel = <0>;
		vinc7_mipi_sel = <0>;
		vinc7_isp_sel = <3>;
		vinc7_isp_tx_ch = <0>;
		vinc7_tdm_rx_sel = <3>;
		vinc7_vipp_sel = <7>;
		vinc7_rear_sensor_sel = <0>;
		vinc7_front_sensor_sel = <0>;
		vinc7_sensor_list = <0>;
		delay_init = <0>;
		status = "disabled";
	};

	vinc20:vinc@5832000 {
		vinc8_csi_sel = <1>;
		vinc8_mipi_sel = <1>;
		vinc8_isp_sel = <0>;
		vinc8_isp_tx_ch = <0>;
		vinc8_tdm_rx_sel = <0>;
		vinc8_vipp_sel = <8>;
		vinc8_rear_sensor_sel = <0>;
		vinc8_front_sensor_sel = <0>;
		vinc8_sensor_list = <0>;
		delay_init = <0>;
		work_mode = <0x0>;
		status = "okay";
	};

	vinc21:vinc@5831ffc {
		vinc9_csi_sel = <1>;
		vinc9_mipi_sel = <1>;
		vinc9_isp_sel = <1>;
		vinc9_isp_tx_ch = <0>;
		vinc9_tdm_rx_sel = <1>;
		vinc9_vipp_sel = <9>;
		vinc9_rear_sensor_sel = <1>;
		vinc9_front_sensor_sel = <1>;
		vinc9_sensor_list = <0>;
		delay_init = <0>;
		status = "disabled";
	};

	vinc22:vinc@5831ff8 {
		vinc10_csi_sel = <2>;
		vinc10_mipi_sel = <2>;
		vinc10_isp_sel = <2>;
		vinc10_isp_tx_ch = <0>;
		vinc10_tdm_rx_sel = <2>;
		vinc10_vipp_sel = <10>;
		vinc10_rear_sensor_sel = <2>;
		vinc10_front_sensor_sel = <2>;
		vinc10_sensor_list = <0>;
		delay_init = <0>;
		status = "disabled";
	};

	vinc23:vinc@5831ff4 {
		vinc11_csi_sel = <0>;
		vinc11_mipi_sel = <0>;
		vinc11_isp_sel = <3>;
		vinc11_isp_tx_ch = <0>;
		vinc11_tdm_rx_sel = <3>;
		vinc11_vipp_sel = <11>;
		vinc11_rear_sensor_sel = <0>;
		vinc11_front_sensor_sel = <0>;
		vinc11_sensor_list = <0>;
		delay_init = <0>;
		status = "disabled";
	};

	vinc30:vinc@5833000 {
		vinc12_csi_sel = <1>;
		vinc12_mipi_sel = <1>;
		vinc12_isp_sel = <0>;
		vinc12_isp_tx_ch = <0>;
		vinc12_tdm_rx_sel = <0>;
		vinc12_vipp_sel = <12>;
		vinc12_rear_sensor_sel = <0>;
		vinc12_front_sensor_sel = <0>;
		vinc12_sensor_list = <0>;
		delay_init = <0>;
		work_mode = <0x0>;
		status = "okay";
	};

	vinc31:vinc@5832ffc {
		vinc13_csi_sel = <1>;
		vinc13_mipi_sel = <1>;
		vinc13_isp_sel = <1>;
		vinc13_isp_tx_ch = <0>;
		vinc13_tdm_rx_sel = <1>;
		vinc13_vipp_sel = <13>;
		vinc13_rear_sensor_sel = <1>;
		vinc13_front_sensor_sel = <1>;
		vinc13_sensor_list = <0>;
		delay_init = <0>;
		status = "disabled";
	};

	vinc32:vinc@5832ff8 {
		vinc14_csi_sel = <2>;
		vinc14_mipi_sel = <2>;
		vinc14_isp_sel = <2>;
		vinc14_isp_tx_ch = <0>;
		vinc14_tdm_rx_sel = <2>;
		vinc14_vipp_sel = <14>;
		vinc14_rear_sensor_sel = <2>;
		vinc14_front_sensor_sel = <2>;
		vinc14_sensor_list = <0>;
		delay_init = <0>;
		status = "disabled";
	};

	vinc33:vinc@5832ff4 {
		vinc15_csi_sel = <0>;
		vinc15_mipi_sel = <0>;
		vinc15_isp_sel = <3>;
		vinc15_isp_tx_ch = <0>;
		vinc15_tdm_rx_sel = <3>;
		vinc15_vipp_sel = <15>;
		vinc15_rear_sensor_sel = <0>;
		vinc15_front_sensor_sel = <0>;
		vinc15_sensor_list = <0>;
		delay_init = <0>;
		status = "disabled";
	};
};

/* audio dirver module -> audio codec */
&codec {
	tx-hub-en;
	rx-sync-en;

	dac-vol		= <32>;		/* default value:32 range:0->63 */
	dacl-vol	= <129>;	/* default value:129 range:0->255 */
	adc1-vol	= <129>;	/* default value:129 range:0->255 */
	adc2-vol	= <129>;	/* default value:129 range:0->255 */
	lineoutl-vol	= <7>;		/* default value:7 range:0->7 */
	adc1-gain	= <15>;		/* default value:15 range:0->15 */
	adc2-gain	= <15>;		/* default value:15 range:0->15 */

	pa-pin-max	= <1>;
	pa-pin-0	= <&pio PH 15 GPIO_ACTIVE_HIGH>;
	pa-pin-level-0	= <1>;
	pa-pin-msleep-0	= <0>;

	status = "okay";
};

&codec_plat {
	playback-cma	= <32>;
	capture-cma	= <32>;
	status = "okay";
};

&codec_mach {
	status = "okay";
	soundcard-mach,cpu {
		sound-dai = <&codec_plat>;
	};
	soundcard-mach,codec {
		sound-dai = <&codec>;
	};
};

/* audio dirver module -> I2S/PCM */
&i2s0_plat {
	tdm-num		= <0>;
	tx-pin		= <0>;
	rx-pin		= <0>;

	pinctrl-used;
	pinctrl-names	= "default","sleep";
	pinctrl-0	= <&i2s0_pins_a &i2s0_pins_b &i2s0_pins_c &i2s0_pins_d &i2s0_pins_e>;
	pinctrl-1	= <&i2s0_pins_f>;

	tx-hub-en;
	rx-sync-en;
	playback-cma	= <32>;
	capture-cma	= <32>;
	status		= "okay";
};

&i2s0_mach {
	soundcard-mach,format		= "i2s";

	soundcard-mach,name		= "sndi2s0";
	soundcard-mach,frame-master	= <&i2s0_cpu>;
	soundcard-mach,bitclock-master	= <&i2s0_cpu>;
	/* soundcard-mach,frame-inversion; */
	/* soundcard-mach,bitclock-inversion; */
	soundcard-mach,slot-num		= <2>;
	soundcard-mach,slot-width	= <32>;
	status		= "okay";
	i2s0_cpu: soundcard-mach,cpu {
		sound-dai = <&i2s0_plat>;
		/* note: pll freq = 24.576M or 22.5792M * pll-fs */
		soundcard-mach,pll-fs	= <1>;
		/* note:
		 * mclk freq = mclk-fs * 12.288M or 11.2896M	(when mclk-fp ture)
		 * mclk freq = mclk-fs * pcm rate		(when mclk-fp false)
		 */
		soundcard-mach,mclk-fp;
		soundcard-mach,mclk-fs	= <1>;
	};

	i2s0_codec: soundcard-mach,codec {
	};
};

&pwm0_9 {
	pinctrl-names = "active", "sleep";
	pinctrl-0 = <&pwm0_9_pins_active>;
	pinctrl-1 = <&pwm0_9_pins_sleep>;
	status = "disabled";
};

&pwm0_11 {
	pinctrl-names = "active", "sleep";
	pinctrl-0 = <&pwm0_11_pins_active>;
	pinctrl-1 = <&pwm0_11_pins_sleep>;
	clk_bypass_25m;
	status = "okay";
};

&mdio0 {
	status = "okay";
	gmac0_phy0: ethernet-ac300-ephy {
		compatible = "ethernet-phy-id0044.1400";
		reg = <0x0>;
		max-speed = <100>;
		pwms = <&pwm0 11 40 0>;
		efuse = <&sid>;
		efuse-name = "ephy_trim";
		allwinner,leds-active-low;
		allwinner,ephy-clk-sel = <0>; /* 0-25M, 1-27M, 2-24M */
	};
};

&gmac0 {
	phy-mode = "rmii";
	pinctrl-names = "default", "sleep";
	pinctrl-0 = <&gmac0_pins_default>;
	pinctrl-1 = <&gmac0_pins_sleep>;
	sunxi,phy-clk-type = <1>; /* 0-phy25m, 1-osc25m */
	tx-delay = <0>;
	rx-delay = <0>;
	phy-handle = <&gmac0_phy0>;
	status = "okay";
};

&gpadc0 {
	channel_num = <4>;
	channel_select = <0x1>;
	channel_data_select = <0x0>;
	channel_compare_select = <0x1>;
	channel_cld_select = <0x0>;
	channel_chd_select = <0x0>;
	channel0_compare_lowdata = <1200000>;
	channel0_compare_higdata = <1700000>;
	status = "okay";
	keyadc0 {
		key_cnt = <5>;
		key0_vol = <210>;
		key0_val = <KEY_VOLUMEUP>;
		key1_vol = <410>;
		key1_val = <KEY_VOLUMEDOWN>;
		key2_vol = <590>;
		key2_val = <KEY_MENU>;
		key3_vol = <750>;
		key3_val = <KEY_OK>;
		key4_vol = <880>;
		key4_val = <KEY_HOME>;
	};
};

/* VE enc freq 576M uses pll-video-4x as parent; set to 1152M (576*2)
 * so VE can do integer division. Otherwise VE changing parent
 * clock frequency may disturb TCON frame rate. */
&ccu {
	assigned-clocks = <&ccu CLK_PLL_VIDEO_4X>;
	assigned-clock-rates = <1152000000>;
};
